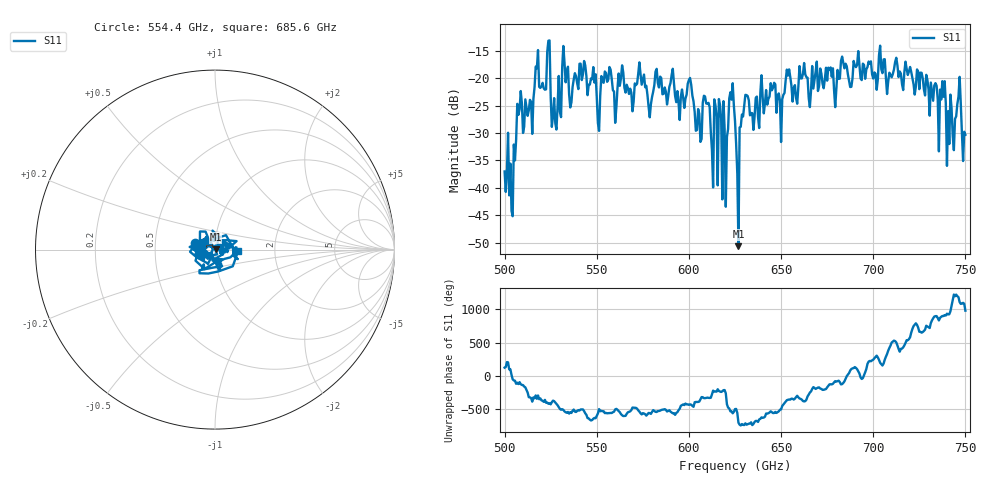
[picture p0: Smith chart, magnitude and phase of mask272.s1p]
!Created with skrf (http://scikit-rf.org).
# GHz S MA R 50.0
!freq magS11 angS11
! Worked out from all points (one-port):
!   401 points, 500 GHz to 750 GHz, reference 50 ohm
!   lowest |S11| = -50.6 dB at 626.9 GHz (marker M1), VSWR 1.01, Z = 50.3 + j0.0892 ohm
!   |S11| at or under -10 dB: start of sweep to end of sweep
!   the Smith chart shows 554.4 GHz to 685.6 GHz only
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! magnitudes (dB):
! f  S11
! 500 GHz  -37.0
! 503.8 GHz  -44.2
! 508.1 GHz  -25.7
! 513.8 GHz  -23.9
! 517.5 GHz  -18.2
! 523.8 GHz  -13.2
! 526.9 GHz  -23.6
! 531.2 GHz  -17.9
! 542.5 GHz  -19.3
! 551.2 GHz  -29.6
! 562.5 GHz  -21.4
! 593.8 GHz  -22.3
! 600.6 GHz  -19.9
! 605.6 GHz  -26.5
! 609.4 GHz  -24.6
! 611.9 GHz  -29.8
! 619.4 GHz  -29.3
! 623.1 GHz  -23.9
! 625 GHz  -27.8
! 626.9 GHz  -50.6
! 631.2 GHz  -23.1
! 656.2 GHz  -24.3
! 687.5 GHz  -21.6
! 718.8 GHz  -19.4
! 737.5 GHz  -20.5
! 742.5 GHz  -25.5
! 746.2 GHz  -23.4
! 750 GHz  -30.3
